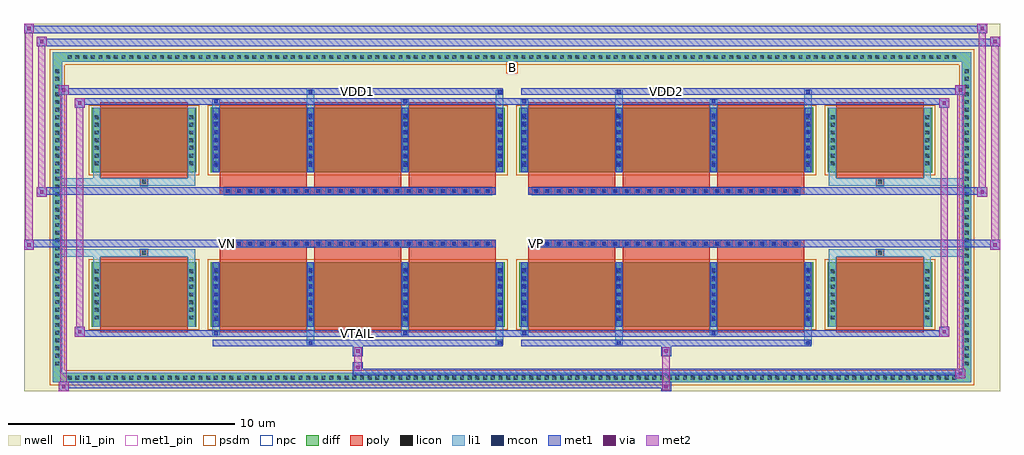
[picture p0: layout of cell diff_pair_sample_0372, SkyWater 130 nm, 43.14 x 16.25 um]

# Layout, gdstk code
import gdstk
lib = gdstk.Library(unit=1e-6, precision=5e-09)
def R(c, l, rs):  # rectangles x0, y0, x1, y1
    for r in rs: c.add(gdstk.rectangle(r[:2], r[2:], *l))
def A(c, l, x, y, w, h, nx, ny, dx, dy):  # array of equal rectangles
    R(c, l, [(x+i*dx, y+j*dy, x+i*dx+w, y+j*dy+h) for i in range(nx) for j in range(ny)])
def P(c, l, *ps):  # polygons
    for p in ps: c.add(gdstk.Polygon(p, *l))
nwell = (64, 20)
diff = (65, 20)
poly = (66, 20)
licon = (66, 44)
li1_pin = (67, 16)
li1 = (67, 20)
mcon = (67, 44)
met1_pin = (68, 16)
met1 = (68, 20)
via = (68, 44)
met2 = (69, 20)
psdm = (94, 20)
npc = (95, 20)

diff_pair_sample_0372 = lib.new_cell('diff_pair_sample_0372')
R(diff_pair_sample_0372, nwell, [(-21.57,-7.69,21.57,8.56), (-18.89,-5.88,-0.01,-0.8), (0.01,-5.88,18.89,-0.8), (-18.89,0.8,-0.01,5.88), (0.01,0.8,18.89,5.88)])
A(diff_pair_sample_0372, diff, -19.755, -7.29, 0.41, 0.41, 116, 2, 0.34, 14.17)
A(diff_pair_sample_0372, diff, -20.3, -6.665, 0.41, 0.41, 1, 39, 0, 0.34)
A(diff_pair_sample_0372, diff, 19.89, -6.665, 0.41, 0.41, 1, 39, 0, 0.34)
R(diff_pair_sample_0372, diff, [(-19.755,-7.29,19.755,-6.88), (-20.3,-6.665,-19.89,6.665), (19.89,-6.665,20.3,6.665), (-18.58,-4.835,-13.95,-1.985), (-13.31,-4.835,-0.32,-1.985), (0.32,-4.835,13.31,-1.985), (13.95,-4.835,18.58,-1.985), (-18.58,1.985,-13.95,4.835), (-13.31,1.985,-0.32,4.835), (0.32,1.985,13.31,4.835), (13.95,1.985,18.58,4.835), (-19.755,6.88,19.755,7.29)])
P(diff_pair_sample_0372, diff, [(20.3,7.29),(-20.3,7.29),(-20.3,-6.88),(-19.89,-6.88),(-19.89,6.88),(19.89,6.88),(19.89,-6.88),(-19.89,-6.88),(-20.3,-6.88),(-20.3,-7.29),(20.3,-7.29)])
A(diff_pair_sample_0372, poly, -12.92, -5.085, 3.85, 3.35, 3, 2, 4.18, 6.82)
A(diff_pair_sample_0372, poly, 0.71, -5.085, 3.85, 3.35, 3, 2, 4.18, 6.82)
A(diff_pair_sample_0372, poly, -12.92, -1.735, 3.85, 0.405, 3, 2, 4.18, 3.065)
A(diff_pair_sample_0372, poly, 0.71, -1.735, 3.85, 0.405, 3, 2, 4.18, 3.065)
A(diff_pair_sample_0372, poly, -12.73, -1.33, 0.33, 0.33, 24, 2, 0.5, 2.33)
A(diff_pair_sample_0372, poly, 0.9, -1.33, 0.33, 0.33, 24, 2, 0.5, 2.33)
R(diff_pair_sample_0372, poly, [(-18.19,-5.085,-14.34,-1.735), (14.34,-5.085,18.19,-1.735), (-16.43,-1.735,-16.1,-1.405), (-16.43,-1.735,-16.1,-1.405), (16.1,-1.735,16.43,-1.405), (16.1,-1.735,16.43,-1.405), (-12.92,-1.33,-0.71,-1), (0.71,-1.33,12.92,-1), (-12.92,1,-0.71,1.33), (0.71,1,12.92,1.33), (-16.43,1.405,-16.1,1.735), (-16.43,1.405,-16.1,1.735), (16.1,1.405,16.43,1.735), (16.1,1.405,16.43,1.735), (-18.19,1.735,-14.34,5.085), (14.34,1.735,18.19,5.085)])
A(diff_pair_sample_0372, licon, -19.635, -7.17, 0.17, 0.17, 116, 2, 0.34, 14.17)
A(diff_pair_sample_0372, licon, -20.18, -6.545, 0.17, 0.17, 1, 39, 0, 0.34)
A(diff_pair_sample_0372, licon, 20.01, -6.545, 0.17, 0.17, 1, 39, 0, 0.34)
A(diff_pair_sample_0372, licon, -18.44, -4.515, 0.17, 0.17, 1, 7, 0, 0.34)
A(diff_pair_sample_0372, licon, -14.26, -4.515, 0.17, 0.17, 1, 7, 0, 0.34)
A(diff_pair_sample_0372, licon, -13.17, -4.515, 0.17, 0.17, 4, 7, 4.18, 0.34)
A(diff_pair_sample_0372, licon, 0.46, -4.515, 0.17, 0.17, 4, 7, 4.18, 0.34)
A(diff_pair_sample_0372, licon, 14.09, -4.515, 0.17, 0.17, 1, 7, 0, 0.34)
A(diff_pair_sample_0372, licon, 18.27, -4.515, 0.17, 0.17, 1, 7, 0, 0.34)
A(diff_pair_sample_0372, licon, -12.65, -1.25, 0.17, 0.17, 24, 2, 0.5, 2.33)
A(diff_pair_sample_0372, licon, 0.98, -1.25, 0.17, 0.17, 24, 2, 0.5, 2.33)
A(diff_pair_sample_0372, licon, -18.44, 2.305, 0.17, 0.17, 1, 7, 0, 0.34)
A(diff_pair_sample_0372, licon, -14.26, 2.305, 0.17, 0.17, 1, 7, 0, 0.34)
A(diff_pair_sample_0372, licon, -13.17, 2.305, 0.17, 0.17, 4, 7, 4.18, 0.34)
A(diff_pair_sample_0372, licon, 0.46, 2.305, 0.17, 0.17, 4, 7, 4.18, 0.34)
A(diff_pair_sample_0372, licon, 14.09, 2.305, 0.17, 0.17, 1, 7, 0, 0.34)
A(diff_pair_sample_0372, licon, 18.27, 2.305, 0.17, 0.17, 1, 7, 0, 0.34)
R(diff_pair_sample_0372, licon, [(-16.35,-1.655,-16.18,-1.485), (16.18,-1.655,16.35,-1.485), (-16.35,1.485,-16.18,1.655), (16.18,1.485,16.35,1.655)])
R(diff_pair_sample_0372, li1_pin, [(-0.25,6.38,0.25,6.88)])
A(diff_pair_sample_0372, li1, -19.715, -7.25, 0.33, 0.33, 116, 2, 0.34, 14.17)
A(diff_pair_sample_0372, li1, -20.26, -6.625, 0.33, 0.33, 1, 39, 0, 0.34)
A(diff_pair_sample_0372, li1, 19.93, -6.625, 0.33, 0.33, 1, 39, 0, 0.34)
A(diff_pair_sample_0372, li1, -13.25, -4.835, 0.33, 2.85, 4, 2, 4.18, 6.82)
A(diff_pair_sample_0372, li1, 0.38, -4.835, 0.33, 2.85, 4, 2, 4.18, 6.82)
A(diff_pair_sample_0372, li1, -18.52, -4.595, 0.33, 0.33, 1, 7, 0, 0.34)
A(diff_pair_sample_0372, li1, -14.34, -4.595, 0.33, 0.33, 1, 7, 0, 0.34)
A(diff_pair_sample_0372, li1, -13.25, -4.595, 0.33, 0.33, 4, 7, 4.18, 0.34)
A(diff_pair_sample_0372, li1, 0.38, -4.595, 0.33, 0.33, 4, 7, 4.18, 0.34)
A(diff_pair_sample_0372, li1, 14.01, -4.595, 0.33, 0.33, 1, 7, 0, 0.34)
A(diff_pair_sample_0372, li1, 18.19, -4.595, 0.33, 0.33, 1, 7, 0, 0.34)
A(diff_pair_sample_0372, li1, -13.17, -4.575, 0.17, 0.17, 4, 7, 4.18, 0.36)
A(diff_pair_sample_0372, li1, -13.17, -4.575, 0.17, 2.33, 4, 2, 4.18, 6.82)
A(diff_pair_sample_0372, li1, 0.46, -4.575, 0.17, 0.17, 4, 7, 4.18, 0.36)
A(diff_pair_sample_0372, li1, 0.46, -4.575, 0.17, 2.33, 4, 2, 4.18, 6.82)
A(diff_pair_sample_0372, li1, -12.73, -1.33, 0.33, 0.33, 24, 2, 0.5, 2.33)
A(diff_pair_sample_0372, li1, 0.9, -1.33, 0.33, 0.33, 24, 2, 0.5, 2.33)
A(diff_pair_sample_0372, li1, -18.52, 2.225, 0.33, 0.33, 1, 7, 0, 0.34)
A(diff_pair_sample_0372, li1, -14.34, 2.225, 0.33, 0.33, 1, 7, 0, 0.34)
A(diff_pair_sample_0372, li1, -13.25, 2.225, 0.33, 0.33, 4, 7, 4.18, 0.34)
A(diff_pair_sample_0372, li1, 0.38, 2.225, 0.33, 0.33, 4, 7, 4.18, 0.34)
A(diff_pair_sample_0372, li1, 14.01, 2.225, 0.33, 0.33, 1, 7, 0, 0.34)
A(diff_pair_sample_0372, li1, 18.19, 2.225, 0.33, 0.33, 1, 7, 0, 0.34)
A(diff_pair_sample_0372, li1, -13.17, 2.245, 0.17, 0.17, 4, 7, 4.18, 0.36)
A(diff_pair_sample_0372, li1, 0.46, 2.245, 0.17, 0.17, 4, 7, 4.18, 0.36)
R(diff_pair_sample_0372, li1, [(-20.3,-7.29,-19.89,-6.88), (-20.3,-7.29,-19.89,-6.88), (-19.89,-7.29,19.89,-6.88), (19.89,-7.29,20.3,-6.88), (19.89,-7.29,20.3,-6.88), (-20.3,-6.88,-19.89,6.88), (19.89,-6.88,20.3,6.88), (-9.07,-5.64,-8.74,-4.835), (-8.99,-5.64,-8.82,-5.47), (-0.71,-5.64,-0.38,-4.835), (-0.63,-5.64,-0.46,-5.47), (4.56,-5.64,4.89,-4.835), (4.64,-5.64,4.81,-5.47), (12.92,-5.64,13.25,-4.835), (13,-5.64,13.17,-5.47), (-13.25,-5.21,-12.92,-4.835), (-13.17,-5.21,-13,-5.04), (-4.89,-5.21,-4.56,-4.835), (-4.81,-5.21,-4.64,-5.04), (0.38,-5.21,0.71,-4.835), (0.46,-5.21,0.63,-5.04), (8.74,-5.21,9.07,-4.835), (8.82,-5.21,8.99,-5.04), (-18.52,-4.835,-18.19,-1.985), (-14.34,-4.835,-14.01,-1.985), (14.01,-4.835,14.34,-1.985), (18.19,-4.835,18.52,-1.985), (-18.52,-1.985,-18.19,-1.405), (-14.34,-1.985,-14.01,-1.405), (14.01,-1.985,14.34,-1.405), (18.19,-1.985,18.52,-1.405), (-20.3,-1.735,-16.43,-1.405), (-18.52,-1.735,-16.43,-1.405), (-16.43,-1.735,-16.1,-1.405), (-16.1,-1.735,-14.01,-1.405), (14.01,-1.735,16.1,-1.405), (16.1,-1.735,16.43,-1.405), (16.1,-1.735,20.3,-1.405), (16.43,-1.735,18.52,-1.405), (-20.3,1.405,-16.43,1.735), (-18.52,1.405,-16.43,1.735), (-18.52,1.405,-18.19,1.985), (-16.43,1.405,-16.1,1.735), (-16.1,1.405,-14.01,1.735), (-14.34,1.405,-14.01,1.985), (14.01,1.405,16.1,1.735), (14.01,1.405,14.34,1.985), (16.1,1.405,16.43,1.735), (16.1,1.405,20.3,1.735), (16.43,1.405,18.52,1.735), (18.19,1.405,18.52,1.985), (-18.52,1.985,-18.19,4.835), (-14.34,1.985,-14.01,4.835), (14.01,1.985,14.34,4.835), (18.19,1.985,18.52,4.835), (-13.25,4.835,-12.92,5.21), (-9.07,4.835,-8.74,5.64), (-4.89,4.835,-4.56,5.21), (-0.71,4.835,-0.38,5.64), (0.38,4.835,0.71,5.21), (4.56,4.835,4.89,5.64), (8.74,4.835,9.07,5.21), (12.92,4.835,13.25,5.64), (-13.17,5.04,-13,5.21), (-4.81,5.04,-4.64,5.21), (0.46,5.04,0.63,5.21), (8.82,5.04,8.99,5.21), (-8.99,5.47,-8.82,5.64), (-0.63,5.47,-0.46,5.64), (4.64,5.47,4.81,5.64), (13,5.47,13.17,5.64), (-20.3,6.88,-19.89,7.29), (-20.3,6.88,-19.89,7.29), (-19.89,6.88,19.89,7.29), (19.89,6.88,20.3,7.29), (19.89,6.88,20.3,7.29)])
A(diff_pair_sample_0372, mcon, -13.17, -4.575, 0.17, 0.17, 4, 7, 4.18, 0.36)
A(diff_pair_sample_0372, mcon, 0.46, -4.575, 0.17, 0.17, 4, 7, 4.18, 0.36)
A(diff_pair_sample_0372, mcon, -12.65, -1.25, 0.17, 0.17, 24, 2, 0.5, 2.33)
A(diff_pair_sample_0372, mcon, 0.98, -1.25, 0.17, 0.17, 24, 2, 0.5, 2.33)
A(diff_pair_sample_0372, mcon, -13.17, 2.245, 0.17, 0.17, 4, 7, 4.18, 0.36)
A(diff_pair_sample_0372, mcon, 0.46, 2.245, 0.17, 0.17, 4, 7, 4.18, 0.36)
R(diff_pair_sample_0372, mcon, [(-8.99,-5.64,-8.82,-5.47), (-0.63,-5.64,-0.46,-5.47), (4.64,-5.64,4.81,-5.47), (13,-5.64,13.17,-5.47), (-13.17,-5.21,-13,-5.04), (-4.81,-5.21,-4.64,-5.04), (0.46,-5.21,0.63,-5.04), (8.82,-5.21,8.99,-5.04), (-13.17,5.04,-13,5.21), (-4.81,5.04,-4.64,5.21), (0.46,5.04,0.63,5.21), (8.82,5.04,8.99,5.21), (-8.99,5.47,-8.82,5.64), (-0.63,5.47,-0.46,5.64), (4.64,5.47,4.81,5.64), (13,5.47,13.17,5.64)])
R(diff_pair_sample_0372, met1_pin, [(-6.95,-5.25,-6.68,-4.98), (-12.7,-1.29,-12.43,-1.02), (0.93,-1.29,1.2,-1.02), (-6.95,5.43,-6.68,5.7), (6.68,5.43,6.95,5.7)])
A(diff_pair_sample_0372, met1, -13.23, -4.835, 0.29, 2.85, 4, 2, 4.18, 6.82)
A(diff_pair_sample_0372, met1, 0.4, -4.835, 0.29, 2.85, 4, 2, 4.18, 6.82)
A(diff_pair_sample_0372, met1, -13.23, -4.635, 0.29, 0.29, 4, 7, 4.18, 0.36)
A(diff_pair_sample_0372, met1, 0.4, -4.635, 0.29, 0.29, 4, 7, 4.18, 0.36)
A(diff_pair_sample_0372, met1, -12.71, -1.31, 0.29, 0.29, 24, 2, 0.5, 2.33)
A(diff_pair_sample_0372, met1, 0.92, -1.31, 0.29, 0.29, 24, 2, 0.5, 2.33)
A(diff_pair_sample_0372, met1, -13.23, 2.185, 0.29, 0.29, 4, 7, 4.18, 0.36)
A(diff_pair_sample_0372, met1, 0.4, 2.185, 0.29, 0.29, 4, 7, 4.18, 0.36)
R(diff_pair_sample_0372, met1, [(-20.03,-7.69,-19.6,-7.26), (6.6,-7.69,7.03,-7.26), (-20.03,-7.55,7.03,-7.26), (19.6,-7.12,20.03,-6.69), (-7.03,-6.98,20.03,-6.69), (-7.03,-6.84,-6.6,-6.41), (-7.03,-6.13,-6.6,-5.7), (6.6,-6.13,7.03,-5.7), (-13.23,-5.7,-0.4,-5.41), (-9.05,-5.7,-8.76,-5.41), (-0.69,-5.7,-0.4,-5.41), (0.4,-5.7,13.23,-5.41), (4.58,-5.7,4.87,-5.41), (12.94,-5.7,13.23,-5.41), (-19.32,-5.27,-18.89,-4.84), (-19.32,-5.27,-13.23,-4.98), (-13.23,-5.27,-12.94,-4.98), (-13.23,-5.27,-0.4,-4.98), (-4.87,-5.27,-4.58,-4.98), (-0.4,-5.27,0.4,-4.98), (0.4,-5.27,0.69,-4.98), (0.4,-5.27,13.23,-4.98), (8.76,-5.27,9.05,-4.98), (13.23,-5.27,19.32,-4.98), (18.89,-5.27,19.32,-4.84), (-21.57,-1.43,-21.14,-1), (21.14,-1.43,21.57,-1), (-21.57,-1.33,-0.71,-1), (-12.92,-1.33,-0.71,-1), (0.71,-1.33,12.92,-1), (0.71,-1.33,21.57,-1), (-21,0.9,-20.57,1.33), (20.57,0.9,21,1.33), (-21,1,-12.92,1.33), (-12.92,1,-0.71,1.33), (0.71,1,12.92,1.33), (12.92,1,21,1.33), (-19.32,4.84,-18.89,5.27), (18.89,4.84,19.32,5.27), (-19.32,4.98,-13.23,5.27), (-13.23,4.98,-12.94,5.27), (-13.23,4.98,-0.4,5.27), (-4.87,4.98,-4.58,5.27), (-0.4,4.98,0.4,5.27), (0.4,4.98,0.69,5.27), (0.4,4.98,13.23,5.27), (8.76,4.98,9.05,5.27), (13.23,4.98,19.32,5.27), (-20.03,5.41,-19.6,5.84), (-20.03,5.41,-13.23,5.7), (-13.23,5.41,-0.4,5.7), (-9.05,5.41,-8.76,5.7), (-0.69,5.41,-0.4,5.7), (0.4,5.41,13.23,5.7), (4.58,5.41,4.87,5.7), (12.94,5.41,13.23,5.7), (13.23,5.41,20.03,5.7), (19.6,5.41,20.03,5.84), (-21,7.56,-20.57,7.99), (-21,7.56,-18.89,7.89), (-18.89,7.56,18.89,7.89), (18.89,7.56,21.57,7.89), (21.14,7.56,21.57,7.99), (-21.57,8.13,-21.14,8.56), (-21.57,8.13,-18.89,8.46), (-18.89,8.13,18.89,8.46), (18.89,8.13,21,8.46), (20.57,8.13,21,8.56)])
R(diff_pair_sample_0372, via, [(-19.89,-7.55,-19.74,-7.4), (6.74,-7.55,6.89,-7.4), (19.74,-6.98,19.89,-6.83), (-6.89,-6.7,-6.74,-6.55), (-6.89,-5.99,-6.74,-5.84), (6.74,-5.99,6.89,-5.84), (-19.18,-5.13,-19.03,-4.98), (19.03,-5.13,19.18,-4.98), (-21.43,-1.29,-21.28,-1.14), (21.28,-1.29,21.43,-1.14), (-20.86,1.04,-20.71,1.19), (20.71,1.04,20.86,1.19), (-19.18,4.98,-19.03,5.13), (19.03,4.98,19.18,5.13), (-19.89,5.55,-19.74,5.7), (19.74,5.55,19.89,5.7), (-20.86,7.7,-20.71,7.85), (21.28,7.7,21.43,7.85), (-21.43,8.27,-21.28,8.42), (20.71,8.27,20.86,8.42)])
R(diff_pair_sample_0372, met2, [(-20.03,-7.69,-19.6,-7.26), (-19.96,-7.69,-19.67,5.84), (-19.67,-7.69,-19.6,-7.26), (-19.98,-7.64,-19.65,-7.31), (6.65,-7.64,6.98,-7.31), (6.65,-7.31,6.98,-6.08), (19.6,-7.12,20.03,-6.69), (19.67,-7.12,19.96,5.84), (19.96,-7.12,20.03,-6.69), (19.65,-7.07,19.98,-6.74), (-6.98,-6.79,-6.65,-6.46), (-6.98,-6.46,-6.65,-6.08), (-6.98,-6.08,-6.65,-5.75), (6.65,-6.08,6.98,-5.75), (-19.32,-5.27,-18.89,-4.84), (-19.25,-5.27,-18.96,5.27), (-18.96,-5.27,-18.89,-4.84), (18.89,-5.27,19.32,-4.84), (18.96,-5.27,19.25,5.27), (19.25,-5.27,19.32,-4.84), (-19.27,-5.22,-18.94,-4.89), (18.94,-5.22,19.27,-4.89), (-21.57,-1.43,-21.14,-1), (-21.52,-1.43,-21.19,8.56), (-21.19,-1.43,-21.14,-1), (21.14,-1.43,21.57,-1), (21.19,-1.43,21.52,7.99), (21.52,-1.43,21.57,-1), (-21.52,-1.38,-21.19,-1.05), (21.19,-1.38,21.52,-1.05), (-21,0.9,-20.57,1.33), (-20.95,0.9,-20.62,7.99), (-20.62,0.9,-20.57,1.33), (20.57,0.9,21,1.33), (20.62,0.9,20.95,8.56), (20.95,0.9,21,1.33), (-20.95,0.95,-20.62,1.28), (20.62,0.95,20.95,1.28), (-19.32,4.84,-18.89,5.27), (-18.96,4.84,-18.89,5.27), (18.89,4.84,19.32,5.27), (19.25,4.84,19.32,5.27), (-19.27,4.89,-18.94,5.22), (18.94,4.89,19.27,5.22), (-20.03,5.41,-19.6,5.84), (-19.67,5.41,-19.6,5.84), (19.6,5.41,20.03,5.84), (19.96,5.41,20.03,5.84), (-19.98,5.46,-19.65,5.79), (19.65,5.46,19.98,5.79), (-21,7.56,-20.57,7.99), (-20.62,7.56,-20.57,7.99), (21.14,7.56,21.57,7.99), (21.52,7.56,21.57,7.99), (-20.95,7.61,-20.62,7.94), (21.19,7.61,21.52,7.94), (-21.57,8.13,-21.14,8.56), (-21.19,8.13,-21.14,8.56), (20.57,8.13,21,8.56), (20.95,8.13,21,8.56), (-21.52,8.18,-21.19,8.51), (20.62,8.18,20.95,8.51)])
R(diff_pair_sample_0372, psdm, [(-18.71,-4.965,-13.82,-1.855), (-13.44,-4.965,-0.19,-1.855), (0.19,-4.965,13.44,-1.855), (13.82,-4.965,18.71,-1.855), (-18.71,1.855,-13.82,4.965), (-13.44,1.855,-0.19,4.965), (0.19,1.855,13.44,4.965), (13.82,1.855,18.71,4.965)])
P(diff_pair_sample_0372, psdm, [(20.43,7.42),(-20.43,7.42),(-20.43,-6.75),(-19.76,-6.75),(-19.76,6.75),(19.76,6.75),(19.76,-6.75),(-19.76,-6.75),(-20.43,-6.75),(-20.43,-7.42),(20.43,-7.42)])
A(diff_pair_sample_0372, npc, -12.75, -1.35, 0.37, 0.37, 24, 2, 0.5, 2.33)
A(diff_pair_sample_0372, npc, 0.88, -1.35, 0.37, 0.37, 24, 2, 0.5, 2.33)
R(diff_pair_sample_0372, npc, [(-16.45,-1.755,-16.08,-1.385), (16.08,-1.755,16.45,-1.385), (-12.75,-1.35,-11.88,-0.98), (-12.75,-1.35,-11.88,-0.98), (-12.25,-1.35,-11.38,-0.98), (-12.25,-1.35,-11.38,-0.98), (-11.75,-1.35,-10.88,-0.98), (-11.75,-1.35,-10.88,-0.98), (-11.25,-1.35,-10.38,-0.98), (-11.25,-1.35,-10.38,-0.98), (-10.75,-1.35,-9.88,-0.98), (-10.75,-1.35,-9.88,-0.98), (-10.25,-1.35,-9.38,-0.98), (-10.25,-1.35,-9.38,-0.98), (-9.75,-1.35,-8.88,-0.98), (-9.75,-1.35,-8.88,-0.98), (-9.25,-1.35,-8.38,-0.98), (-9.25,-1.35,-8.38,-0.98), (-8.75,-1.35,-7.88,-0.98), (-8.75,-1.35,-7.88,-0.98), (-8.25,-1.35,-7.38,-0.98), (-8.25,-1.35,-7.38,-0.98), (-7.75,-1.35,-6.88,-0.98), (-7.75,-1.35,-6.88,-0.98), (-7.25,-1.35,-6.38,-0.98), (-7.25,-1.35,-6.38,-0.98), (-6.75,-1.35,-5.88,-0.98), (-6.75,-1.35,-5.88,-0.98), (-6.25,-1.35,-5.38,-0.98), (-6.25,-1.35,-5.38,-0.98), (-5.75,-1.35,-4.88,-0.98), (-5.75,-1.35,-4.88,-0.98), (-5.25,-1.35,-4.38,-0.98), (-5.25,-1.35,-4.38,-0.98), (-4.75,-1.35,-3.88,-0.98), (-4.75,-1.35,-3.88,-0.98), (-4.25,-1.35,-3.38,-0.98), (-4.25,-1.35,-3.38,-0.98), (-3.75,-1.35,-2.88,-0.98), (-3.75,-1.35,-2.88,-0.98), (-3.25,-1.35,-2.38,-0.98), (-3.25,-1.35,-2.38,-0.98), (-2.75,-1.35,-1.88,-0.98), (-2.75,-1.35,-1.88,-0.98), (-2.25,-1.35,-1.38,-0.98), (-2.25,-1.35,-1.38,-0.98), (-1.75,-1.35,-0.88,-0.98), (-1.75,-1.35,-0.88,-0.98), (0.88,-1.35,1.75,-0.98), (0.88,-1.35,1.75,-0.98), (1.38,-1.35,2.25,-0.98), (1.38,-1.35,2.25,-0.98), (1.88,-1.35,2.75,-0.98), (1.88,-1.35,2.75,-0.98), (2.38,-1.35,3.25,-0.98), (2.38,-1.35,3.25,-0.98), (2.88,-1.35,3.75,-0.98), (2.88,-1.35,3.75,-0.98), (3.38,-1.35,4.25,-0.98), (3.38,-1.35,4.25,-0.98), (3.88,-1.35,4.75,-0.98), (3.88,-1.35,4.75,-0.98), (4.38,-1.35,5.25,-0.98), (4.38,-1.35,5.25,-0.98), (4.88,-1.35,5.75,-0.98), (4.88,-1.35,5.75,-0.98), (5.38,-1.35,6.25,-0.98), (5.38,-1.35,6.25,-0.98), (5.88,-1.35,6.75,-0.98), (5.88,-1.35,6.75,-0.98), (6.38,-1.35,7.25,-0.98), (6.38,-1.35,7.25,-0.98), (6.88,-1.35,7.75,-0.98), (6.88,-1.35,7.75,-0.98), (7.38,-1.35,8.25,-0.98), (7.38,-1.35,8.25,-0.98), (7.88,-1.35,8.75,-0.98), (7.88,-1.35,8.75,-0.98), (8.38,-1.35,9.25,-0.98), (8.38,-1.35,9.25,-0.98), (8.88,-1.35,9.75,-0.98), (8.88,-1.35,9.75,-0.98), (9.38,-1.35,10.25,-0.98), (9.38,-1.35,10.25,-0.98), (9.88,-1.35,10.75,-0.98), (9.88,-1.35,10.75,-0.98), (10.38,-1.35,11.25,-0.98), (10.38,-1.35,11.25,-0.98), (10.88,-1.35,11.75,-0.98), (10.88,-1.35,11.75,-0.98), (11.38,-1.35,12.25,-0.98), (11.38,-1.35,12.25,-0.98), (11.88,-1.35,12.75,-0.98), (11.88,-1.35,12.75,-0.98), (-12.75,0.98,-11.88,1.35), (-12.75,0.98,-11.88,1.35), (-12.25,0.98,-11.38,1.35), (-12.25,0.98,-11.38,1.35), (-11.75,0.98,-10.88,1.35), (-11.75,0.98,-10.88,1.35), (-11.25,0.98,-10.38,1.35), (-11.25,0.98,-10.38,1.35), (-10.75,0.98,-9.88,1.35), (-10.75,0.98,-9.88,1.35), (-10.25,0.98,-9.38,1.35), (-10.25,0.98,-9.38,1.35), (-9.75,0.98,-8.88,1.35), (-9.75,0.98,-8.88,1.35), (-9.25,0.98,-8.38,1.35), (-9.25,0.98,-8.38,1.35), (-8.75,0.98,-7.88,1.35), (-8.75,0.98,-7.88,1.35), (-8.25,0.98,-7.38,1.35), (-8.25,0.98,-7.38,1.35), (-7.75,0.98,-6.88,1.35), (-7.75,0.98,-6.88,1.35), (-7.25,0.98,-6.38,1.35), (-7.25,0.98,-6.38,1.35), (-6.75,0.98,-5.88,1.35), (-6.75,0.98,-5.88,1.35), (-6.25,0.98,-5.38,1.35), (-6.25,0.98,-5.38,1.35), (-5.75,0.98,-4.88,1.35), (-5.75,0.98,-4.88,1.35), (-5.25,0.98,-4.38,1.35), (-5.25,0.98,-4.38,1.35), (-4.75,0.98,-3.88,1.35), (-4.75,0.98,-3.88,1.35), (-4.25,0.98,-3.38,1.35), (-4.25,0.98,-3.38,1.35), (-3.75,0.98,-2.88,1.35), (-3.75,0.98,-2.88,1.35), (-3.25,0.98,-2.38,1.35), (-3.25,0.98,-2.38,1.35), (-2.75,0.98,-1.88,1.35), (-2.75,0.98,-1.88,1.35), (-2.25,0.98,-1.38,1.35), (-2.25,0.98,-1.38,1.35), (-1.75,0.98,-0.88,1.35), (-1.75,0.98,-0.88,1.35), (0.88,0.98,1.75,1.35), (0.88,0.98,1.75,1.35), (1.38,0.98,2.25,1.35), (1.38,0.98,2.25,1.35), (1.88,0.98,2.75,1.35), (1.88,0.98,2.75,1.35), (2.38,0.98,3.25,1.35), (2.38,0.98,3.25,1.35), (2.88,0.98,3.75,1.35), (2.88,0.98,3.75,1.35), (3.38,0.98,4.25,1.35), (3.38,0.98,4.25,1.35), (3.88,0.98,4.75,1.35), (3.88,0.98,4.75,1.35), (4.38,0.98,5.25,1.35), (4.38,0.98,5.25,1.35), (4.88,0.98,5.75,1.35), (4.88,0.98,5.75,1.35), (5.38,0.98,6.25,1.35), (5.38,0.98,6.25,1.35), (5.88,0.98,6.75,1.35), (5.88,0.98,6.75,1.35), (6.38,0.98,7.25,1.35), (6.38,0.98,7.25,1.35), (6.88,0.98,7.75,1.35), (6.88,0.98,7.75,1.35), (7.38,0.98,8.25,1.35), (7.38,0.98,8.25,1.35), (7.88,0.98,8.75,1.35), (7.88,0.98,8.75,1.35), (8.38,0.98,9.25,1.35), (8.38,0.98,9.25,1.35), (8.88,0.98,9.75,1.35), (8.88,0.98,9.75,1.35), (9.38,0.98,10.25,1.35), (9.38,0.98,10.25,1.35), (9.88,0.98,10.75,1.35), (9.88,0.98,10.75,1.35), (10.38,0.98,11.25,1.35), (10.38,0.98,11.25,1.35), (10.88,0.98,11.75,1.35), (10.88,0.98,11.75,1.35), (11.38,0.98,12.25,1.35), (11.38,0.98,12.25,1.35), (11.88,0.98,12.75,1.35), (11.88,0.98,12.75,1.35), (-16.45,1.385,-16.08,1.755), (16.08,1.385,16.45,1.755)])
diff_pair_sample_0372.add(gdstk.Label('VTAIL', (-6.815,-5.115), layer=68, texttype=5))
diff_pair_sample_0372.add(gdstk.Label('VN', (-12.565,-1.155), layer=68, texttype=5))
diff_pair_sample_0372.add(gdstk.Label('VP', (1.065,-1.155), layer=68, texttype=5))
diff_pair_sample_0372.add(gdstk.Label('B', (0,6.63), layer=67, texttype=5))
diff_pair_sample_0372.add(gdstk.Label('VDD2', (6.815,5.565), layer=68, texttype=5))
diff_pair_sample_0372.add(gdstk.Label('VDD1', (-6.815,5.565), layer=68, texttype=5))

lib.write_gds('diff_pair_sample_0372.gds')
